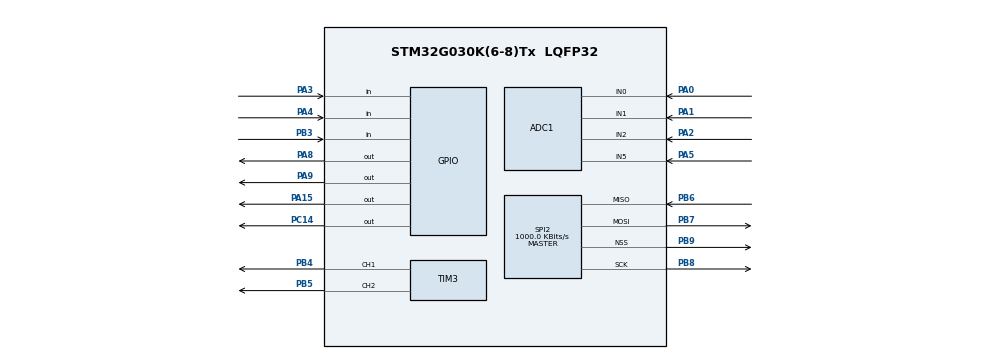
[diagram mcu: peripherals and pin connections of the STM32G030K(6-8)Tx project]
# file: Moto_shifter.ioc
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ADC1.Channel-0\#ChannelRegularConversion=ADC_CHANNEL_0
ADC1.Channel-1\#ChannelRegularConversion=ADC_CHANNEL_1
ADC1.Channel-2\#ChannelRegularConversion=ADC_CHANNEL_2
ADC1.Channel-3\#ChannelRegularConversion=ADC_CHANNEL_2
ADC1.Channel-4\#ChannelRegularConversion=ADC_CHANNEL_5
ADC1.Channel-5\#ChannelRegularConversion=ADC_CHANNEL_5
ADC1.DMAContinuousRequests=ENABLE
ADC1.DiscontinuousConvMode=ENABLE
ADC1.ExternalTrigConv=ADC_EXTERNALTRIG_T3_TRGO
ADC1.NbrOfConversion=6
ADC1.NbrOfConversionFlag=1
ADC1.Rank-0\#ChannelRegularConversion=1
ADC1.Rank-1\#ChannelRegularConversion=2
ADC1.Rank-2\#ChannelRegularConversion=3
ADC1.Rank-3\#ChannelRegularConversion=4
ADC1.Rank-4\#ChannelRegularConversion=5
ADC1.Rank-5\#ChannelRegularConversion=6
ADC1.SamplingTime-0\#ChannelRegularConversion=ADC_SAMPLINGTIME_COMMON_1
ADC1.SamplingTime-1\#ChannelRegularConversion=ADC_SAMPLINGTIME_COMMON_1
ADC1.SamplingTime-2\#ChannelRegularConversion=ADC_SAMPLINGTIME_COMMON_1
ADC1.SamplingTime-3\#ChannelRegularConversion=ADC_SAMPLINGTIME_COMMON_1
ADC1.SamplingTime-4\#ChannelRegularConversion=ADC_SAMPLINGTIME_COMMON_1
ADC1.SamplingTime-5\#ChannelRegularConversion=ADC_SAMPLINGTIME_COMMON_1
ADC1.SelectedChannel=ADC_CHANNEL_0|ADC_CHANNEL_1|ADC_CHANNEL_2|ADC_CHANNEL_5
ADC1.master=1
Dma.ADC1.0.Direction=DMA_PERIPH_TO_MEMORY
Dma.ADC1.0.EventEnable=DISABLE
Dma.ADC1.0.Instance=DMA1_Channel1
Dma.ADC1.0.MemDataAlignment=DMA_MDATAALIGN_HALFWORD
Dma.ADC1.0.MemInc=DMA_MINC_ENABLE
Dma.ADC1.0.Mode=DMA_CIRCULAR
Dma.ADC1.0.PeriphDataAlignment=DMA_PDATAALIGN_HALFWORD
Dma.ADC1.0.PeriphInc=DMA_PINC_DISABLE
Dma.ADC1.0.Polarity=HAL_DMAMUX_REQ_GEN_RISING
Dma.ADC1.0.Priority=DMA_PRIORITY_MEDIUM
Dma.ADC1.0.RequestNumber=1
Dma.ADC1.0.SignalID=NONE
Dma.ADC1.0.SyncEnable=DISABLE
Dma.ADC1.0.SyncPolarity=HAL_DMAMUX_SYNC_NO_EVENT
Dma.ADC1.0.SyncRequestNumber=1
Dma.ADC1.0.SyncSignalID=NONE
Dma.Request0=ADC1
Dma.Request1=SPI2_RX
Dma.Request2=SPI2_TX
Dma.SPI2_RX.1.Direction=DMA_PERIPH_TO_MEMORY
Dma.SPI2_RX.1.EventEnable=DISABLE
Dma.SPI2_RX.1.Instance=DMA1_Channel2
Dma.SPI2_RX.1.MemDataAlignment=DMA_MDATAALIGN_HALFWORD
Dma.SPI2_RX.1.MemInc=DMA_MINC_ENABLE
Dma.SPI2_RX.1.Mode=DMA_CIRCULAR
Dma.SPI2_RX.1.PeriphDataAlignment=DMA_PDATAALIGN_HALFWORD
Dma.SPI2_RX.1.PeriphInc=DMA_PINC_DISABLE
Dma.SPI2_RX.1.Polarity=HAL_DMAMUX_REQ_GEN_RISING
Dma.SPI2_RX.1.Priority=DMA_PRIORITY_LOW
Dma.SPI2_RX.1.RequestNumber=1
Dma.SPI2_RX.1.SignalID=NONE
Dma.SPI2_RX.1.SyncEnable=DISABLE
Dma.SPI2_RX.1.SyncPolarity=HAL_DMAMUX_SYNC_NO_EVENT
Dma.SPI2_RX.1.SyncRequestNumber=1
Dma.SPI2_RX.1.SyncSignalID=NONE
Dma.SPI2_TX.2.Direction=DMA_MEMORY_TO_PERIPH
Dma.SPI2_TX.2.EventEnable=DISABLE
Dma.SPI2_TX.2.Instance=DMA1_Channel3
Dma.SPI2_TX.2.MemDataAlignment=DMA_MDATAALIGN_HALFWORD
Dma.SPI2_TX.2.MemInc=DMA_MINC_ENABLE
Dma.SPI2_TX.2.Mode=DMA_NORMAL
Dma.SPI2_TX.2.PeriphDataAlignment=DMA_PDATAALIGN_HALFWORD
Dma.SPI2_TX.2.PeriphInc=DMA_PINC_DISABLE
Dma.SPI2_TX.2.Polarity=HAL_DMAMUX_REQ_GEN_RISING
Dma.SPI2_TX.2.Priority=DMA_PRIORITY_LOW
Dma.SPI2_TX.2.RequestNumber=1
Dma.SPI2_TX.2.SignalID=NONE
Dma.SPI2_TX.2.SyncEnable=DISABLE
Dma.SPI2_TX.2.SyncPolarity=HAL_DMAMUX_SYNC_NO_EVENT
Dma.SPI2_TX.2.SyncRequestNumber=1
Dma.SPI2_TX.2.SyncSignalID=NONE
Mcu.Family=STM32G0
Mcu.Name=STM32G030K(6-8)Tx
Mcu.Package=LQFP32
NVIC.DMA1_Channel1_IRQn=true\:0\:0\:false\:false\:true\:false\:true\:true
NVIC.DMA1_Channel2_3_IRQn=true\:0\:0\:false\:false\:true\:false\:true\:true
PA0.Mode=IN0
PA0.Signal=ADC1_IN0
PA1.Mode=IN1
PA1.Signal=ADC1_IN1
PA13.Mode=Serial_Wire
PA13.Signal=SYS_SWDIO
PA14-BOOT0.Mode=Serial_Wire
PA14-BOOT0.Signal=SYS_SWCLK
PA15.Signal=GPIO_Output
PA2.Mode=IN2
PA2.Signal=ADC1_IN2
PA3.Signal=GPIO_Input
PA4.Signal=GPIO_Input
PA5.Mode=IN5
PA5.Signal=ADC1_IN5
PA8.Signal=GPIO_Output
PA9.Signal=GPIO_Output
PB3.Signal=GPIO_Input
PB4.Signal=S_TIM3_CH1
PB5.Signal=S_TIM3_CH2
PB6.Mode=Full_Duplex_Master
PB6.Signal=SPI2_MISO
PB7.Mode=Full_Duplex_Master
PB7.Signal=SPI2_MOSI
PB8.Mode=Full_Duplex_Master
PB8.Signal=SPI2_SCK
PB9.Mode=NSS_Signal_Hard_Output
PB9.Signal=SPI2_NSS
PC14-OSC32_IN\ (PC14).Signal=GPIO_Output
ProjectManager.HeapSize=0x200
ProjectManager.StackSize=0x400
ProjectManager.TargetToolchain=MDK-ARM V5.32
RCC.ADCFreq_Value=2000000
RCC.AHBFreq_Value=2000000
RCC.CortexFreq_Value=2000000
RCC.EXTERNAL_CLOCK_VALUE=12288000
RCC.HCLKFreq_Value=2000000
RCC.HSE_VALUE=8000000
RCC.HSISYSCLKDivider=RCC_HSI_DIV8
RCC.HSI_VALUE=16000000
RCC.LSE_VALUE=32768
RCC.SYSCLKFreq_VALUE=2000000
RCC.VCOOutputFreq_Value=128000000
SH.S_TIM3_CH1.0=TIM3_CH1,PWM Generation1 CH1
SH.S_TIM3_CH2.0=TIM3_CH2,PWM Generation2 CH2
SPI2.BaudRatePrescaler=SPI_BAUDRATEPRESCALER_2
SPI2.CLKPhase=SPI_PHASE_1EDGE
SPI2.CLKPolarity=SPI_POLARITY_LOW
SPI2.CalculateBaudRate=1000.0 KBits/s
SPI2.DataSize=SPI_DATASIZE_16BIT
SPI2.Direction=SPI_DIRECTION_2LINES
SPI2.Mode=SPI_MODE_MASTER
SPI2.TIMode=SPI_TIMODE_DISABLE
SPI2.VirtualNSS=VM_NSSHARD
SPI2.VirtualType=VM_MASTER
TIM3.Channel-PWM\ Generation1\ CH1=TIM_CHANNEL_1
TIM3.Channel-PWM\ Generation2\ CH2=TIM_CHANNEL_2
TIM3.TIM_MasterOutputTrigger=TIM_TRGO_UPDATE
VP_TIM3_VS_ClockSourceINT.Mode=Internal
board=custom

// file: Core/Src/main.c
/* USER CODE BEGIN Header */
/**
  ******************************************************************************
  * @file           : main.c
  * @brief          : Main program body
  ******************************************************************************
  * @attention
  *
  * Copyright (c) 2024 STMicroelectronics.
  * All rights reserved.
  *
  * This software is licensed under terms that can be found in the LICENSE file
  * in the root directory of this software component.
  * If no LICENSE file comes with this software, it is provided AS-IS.
  *
  ******************************************************************************
  */
/* USER CODE END Header */
#include "main.h"

/* USER CODE BEGIN Includes */
#define DOFF_PIN 		GPIOC, LL_GPIO_PIN_14
#define nSLEEP_PIN 	GPIOA, LL_GPIO_PIN_15
#define EN_PIN 			GPIOB, LL_GPIO_PIN_4
#define PH_PIN 			GPIOB, LL_GPIO_PIN_5
#define nSS_PIN 		GPIOB, LL_GPIO_PIN_9

/* USER CODE END Includes */

SPI_HandleTypeDef hspi2;
DMA_HandleTypeDef hdma_spi2_rx;
DMA_HandleTypeDef hdma_spi2_tx;

void SystemClock_Config(void);
static void MX_GPIO_Init(void);
static void MX_DMA_Init(void);
static void MX_ADC1_Init(void);
static void MX_SPI2_Init(void);
static void MX_TIM3_Init(void);
/* USER CODE BEGIN PFP */

uint16_t SPI_RX_buf[16];
uint16_t SPI_TX_buf[16];
/* USER CODE END PFP */

int main(void)
{

  /* MCU Configuration--------------------------------------------------------*/

  /* Reset of all peripherals, Initializes the Flash interface and the Systick. */
  HAL_Init();

  /* Configure the system clock */
  SystemClock_Config();

  /* Initialize all configured peripherals */
  MX_GPIO_Init();
  MX_DMA_Init();
  MX_ADC1_Init();
  MX_SPI2_Init();
  MX_TIM3_Init();
  /* USER CODE BEGIN 2 */
	LL_GPIO_SetOutputPin(DOFF_PIN);

	LL_GPIO_SetOutputPin(nSLEEP_PIN);
	LL_GPIO_ResetOutputPin(EN_PIN);
	LL_GPIO_ResetOutputPin(PH_PIN);
//	LL_DMA_SetMemoryAddress(DMA1, LL_DMA_CHANNEL_2, (uint32_t)&SPI_RX_buf);
//	LL_DMA_SetDataLength(DMA1, LL_DMA_CHANNEL_2, 16);
//	LL_DMA_EnableChannel(DMA1, LL_DMA_CHANNEL_2);
	SPI_TX_buf[0] = 0x0890;
	SPI_TX_buf[1] = 0x0890;
	SPI_TX_buf[2] = 0x4100;
	SPI_TX_buf[3] = 0x4100;
	SPI_TX_buf[4] = 0x4100;

	HAL_SPI_TransmitReceive_DMA(&hspi2, (uint8_t*)&SPI_TX_buf,(uint8_t*)&SPI_RX_buf,5);
	/*
	LL_SPI_EnableDMAReq_RX(SPI2);
	LL_SPI_Enable(SPI2);
	SPI2_transmit16b(0x4880);
	SPI2_transmit16b(0x0800);
	*/
  /* USER CODE END 2 */

  /* Infinite loop */
  while (1)
  {

  }
}

void SystemClock_Config(void)
{
  /* HSI configuration and activation */
  LL_RCC_HSI_Enable();
  while(LL_RCC_HSI_IsReady() != 1)
  {
  }

  LL_RCC_SetHSIDiv(LL_RCC_HSI_DIV_8);
  /* Set AHB prescaler*/
  LL_RCC_SetAHBPrescaler(LL_RCC_SYSCLK_DIV_1);

  /* Sysclk activation on the HSI */
  LL_RCC_SetSysClkSource(LL_RCC_SYS_CLKSOURCE_HSI);
  while(LL_RCC_GetSysClkSource() != LL_RCC_SYS_CLKSOURCE_STATUS_HSI)
  {
  }

  /* Set APB1 prescaler*/
  LL_RCC_SetAPB1Prescaler(LL_RCC_APB1_DIV_1);
  /* Update CMSIS variable (which can be updated also through SystemCoreClockUpdate function) */
  LL_SetSystemCoreClock(2000000);

   /* Update the time base */
  if (HAL_InitTick (TICK_INT_PRIORITY) != HAL_OK)
  {
    Error_Handler();
  }
}

static void MX_ADC1_Init(void)
{

  LL_ADC_InitTypeDef ADC_InitStruct = {0};
  LL_ADC_REG_InitTypeDef ADC_REG_InitStruct = {0};

  LL_GPIO_InitTypeDef GPIO_InitStruct = {0};

  /* Peripheral clock enable */
  LL_APB2_GRP1_EnableClock(LL_APB2_GRP1_PERIPH_ADC);

  LL_IOP_GRP1_EnableClock(LL_IOP_GRP1_PERIPH_GPIOA);
  /**ADC1 GPIO Configuration
  PA0   ------> ADC1_IN0
  PA1   ------> ADC1_IN1
  PA2   ------> ADC1_IN2
  PA5   ------> ADC1_IN5
  */
  GPIO_InitStruct.Pin = LL_GPIO_PIN_0;
  GPIO_InitStruct.Mode = LL_GPIO_MODE_ANALOG;
  GPIO_InitStruct.Pull = LL_GPIO_PULL_NO;
  LL_GPIO_Init(GPIOA, &GPIO_InitStruct);

  GPIO_InitStruct.Pin = LL_GPIO_PIN_1;
  GPIO_InitStruct.Mode = LL_GPIO_MODE_ANALOG;
  GPIO_InitStruct.Pull = LL_GPIO_PULL_NO;
  LL_GPIO_Init(GPIOA, &GPIO_InitStruct);

  GPIO_InitStruct.Pin = LL_GPIO_PIN_2;
  GPIO_InitStruct.Mode = LL_GPIO_MODE_ANALOG;
  GPIO_InitStruct.Pull = LL_GPIO_PULL_NO;
  LL_GPIO_Init(GPIOA, &GPIO_InitStruct);

  GPIO_InitStruct.Pin = LL_GPIO_PIN_5;
  GPIO_InitStruct.Mode = LL_GPIO_MODE_ANALOG;
  GPIO_InitStruct.Pull = LL_GPIO_PULL_NO;
  LL_GPIO_Init(GPIOA, &GPIO_InitStruct);

  /* ADC1 DMA Init */

  /* ADC1 Init */
  LL_DMA_SetPeriphRequest(DMA1, LL_DMA_CHANNEL_1, LL_DMAMUX_REQ_ADC1);

  LL_DMA_SetDataTransferDirection(DMA1, LL_DMA_CHANNEL_1, LL_DMA_DIRECTION_PERIPH_TO_MEMORY);

  LL_DMA_SetChannelPriorityLevel(DMA1, LL_DMA_CHANNEL_1, LL_DMA_PRIORITY_MEDIUM);

  LL_DMA_SetMode(DMA1, LL_DMA_CHANNEL_1, LL_DMA_MODE_CIRCULAR);

  LL_DMA_SetPeriphIncMode(DMA1, LL_DMA_CHANNEL_1, LL_DMA_PERIPH_NOINCREMENT);

  LL_DMA_SetMemoryIncMode(DMA1, LL_DMA_CHANNEL_1, LL_DMA_MEMORY_INCREMENT);

  LL_DMA_SetPeriphSize(DMA1, LL_DMA_CHANNEL_1, LL_DMA_PDATAALIGN_HALFWORD);

  LL_DMA_SetMemorySize(DMA1, LL_DMA_CHANNEL_1, LL_DMA_MDATAALIGN_HALFWORD);

  /** Configure the global features of the ADC (Clock, Resolution, Data Alignment and number of conversion)
  */

   #define ADC_CHANNEL_CONF_RDY_TIMEOUT_MS ( 1U)
   #if (USE_TIMEOUT == 1)
   uint32_t Timeout ; /* Variable used for Timeout management */
   #endif /* USE_TIMEOUT */

  ADC_InitStruct.Clock = LL_ADC_CLOCK_SYNC_PCLK_DIV1;
  ADC_InitStruct.Resolution = LL_ADC_RESOLUTION_12B;
  ADC_InitStruct.DataAlignment = LL_ADC_DATA_ALIGN_RIGHT;
  ADC_InitStruct.LowPowerMode = LL_ADC_LP_MODE_NONE;
  LL_ADC_Init(ADC1, &ADC_InitStruct);
  LL_ADC_REG_SetSequencerConfigurable(ADC1, LL_ADC_REG_SEQ_CONFIGURABLE);

   /* Poll for ADC channel configuration ready */
   #if (USE_TIMEOUT == 1)
   Timeout = ADC_CHANNEL_CONF_RDY_TIMEOUT_MS;
   #endif /* USE_TIMEOUT */
   while (LL_ADC_IsActiveFlag_CCRDY(ADC1) == 0)
     {
   #if (USE_TIMEOUT == 1)
   /* Check Systick counter flag to decrement the time-out value */
   if (LL_SYSTICK_IsActiveCounterFlag())
     {
   if(Timeout-- == 0)
         {
   Error_Handler();
         }
     }
   #endif /* USE_TIMEOUT */
     }
   /* Clear flag ADC channel configuration ready */
   LL_ADC_ClearFlag_CCRDY(ADC1);
  ADC_REG_InitStruct.TriggerSource = LL_ADC_REG_TRIG_EXT_TIM3_TRGO;
  ADC_REG_InitStruct.SequencerLength = LL_ADC_REG_SEQ_SCAN_ENABLE_6RANKS;
  ADC_REG_InitStruct.SequencerDiscont = LL_ADC_REG_SEQ_DISCONT_1RANK;
  ADC_REG_InitStruct.ContinuousMode = LL_ADC_REG_CONV_SINGLE;
  ADC_REG_InitStruct.DMATransfer = LL_ADC_REG_DMA_TRANSFER_UNLIMITED;
  ADC_REG_InitStruct.Overrun = LL_ADC_REG_OVR_DATA_PRESERVED;
  LL_ADC_REG_Init(ADC1, &ADC_REG_InitStruct);
  LL_ADC_SetOverSamplingScope(ADC1, LL_ADC_OVS_DISABLE);
  LL_ADC_SetTriggerFrequencyMode(ADC1, LL_ADC_CLOCK_FREQ_MODE_HIGH);
  LL_ADC_REG_SetTriggerEdge(ADC1, LL_ADC_REG_TRIG_EXT_RISING);
  LL_ADC_SetSamplingTimeCommonChannels(ADC1, LL_ADC_SAMPLINGTIME_COMMON_1, LL_ADC_SAMPLINGTIME_1CYCLE_5);
  LL_ADC_SetSamplingTimeCommonChannels(ADC1, LL_ADC_SAMPLINGTIME_COMMON_2, LL_ADC_SAMPLINGTIME_1CYCLE_5);
  LL_ADC_DisableIT_EOC(ADC1);
  LL_ADC_DisableIT_EOS(ADC1);

   /* Enable ADC internal voltage regulator */
   LL_ADC_EnableInternalRegulator(ADC1);
   /* Delay for ADC internal voltage regulator stabilization. */
   /* Compute number of CPU cycles to wait for, from delay in us. */
   /* Note: Variable divided by 2 to compensate partially */
   /* CPU processing cycles (depends on compilation optimization). */
   /* Note: If system core clock frequency is below 200kHz, wait time */
   /* is only a few CPU processing cycles. */
   uint32_t wait_loop_index;
   wait_loop_index = ((LL_ADC_DELAY_INTERNAL_REGUL_STAB_US * (SystemCoreClock / (100000 * 2))) / 10);
   while(wait_loop_index != 0)
     {
   wait_loop_index--;
     }

  /** Configure Regular Channel
  */
  LL_ADC_REG_SetSequencerRanks(ADC1, LL_ADC_REG_RANK_1, LL_ADC_CHANNEL_0);
  LL_ADC_SetChannelSamplingTime(ADC1, LL_ADC_CHANNEL_0, LL_ADC_SAMPLINGTIME_COMMON_1);

  /** Configure Regular Channel
  */
  LL_ADC_REG_SetSequencerRanks(ADC1, LL_ADC_REG_RANK_2, LL_ADC_CHANNEL_1);

   /* Poll for ADC channel configuration ready */
   #if (USE_TIMEOUT == 1)
   Timeout = ADC_CHANNEL_CONF_RDY_TIMEOUT_MS;
   #endif /* USE_TIMEOUT */
   while (LL_ADC_IsActiveFlag_CCRDY(ADC1) == 0)
     {
   #if (USE_TIMEOUT == 1)
   /* Check Systick counter flag to decrement the time-out value */
   if (LL_SYSTICK_IsActiveCounterFlag())
     {
   if(Timeout-- == 0)
         {
   Error_Handler();
         }
     }
   #endif /* USE_TIMEOUT */
     }
   /* Clear flag ADC channel configuration ready */
   LL_ADC_ClearFlag_CCRDY(ADC1);
  LL_ADC_SetChannelSamplingTime(ADC1, LL_ADC_CHANNEL_1, LL_ADC_SAMPLINGTIME_COMMON_1);

  /** Configure Regular Channel
  */
  LL_ADC_REG_SetSequencerRanks(ADC1, LL_ADC_REG_RANK_3, LL_ADC_CHANNEL_2);

   /* Poll for ADC channel configuration ready */
   #if (USE_TIMEOUT == 1)
   Timeout = ADC_CHANNEL_CONF_RDY_TIMEOUT_MS;
   #endif /* USE_TIMEOUT */
   while (LL_ADC_IsActiveFlag_CCRDY(ADC1) == 0)
     {
   #if (USE_TIMEOUT == 1)
   /* Check Systick counter flag to decrement the time-out value */
   if (LL_SYSTICK_IsActiveCounterFlag())
     {
   if(Timeout-- == 0)
         {
   Error_Handler();
         }
     }
   #endif /* USE_TIMEOUT */
     }
   /* Clear flag ADC channel configuration ready */
   LL_ADC_ClearFlag_CCRDY(ADC1);
  LL_ADC_SetChannelSamplingTime(ADC1, LL_ADC_CHANNEL_2, LL_ADC_SAMPLINGTIME_COMMON_1);

  /** Configure Regular Channel
  */
  LL_ADC_REG_SetSequencerRanks(ADC1, LL_ADC_REG_RANK_4, LL_ADC_CHANNEL_2);

   /* Poll for ADC channel configuration ready */
   #if (USE_TIMEOUT == 1)
   Timeout = ADC_CHANNEL_CONF_RDY_TIMEOUT_MS;
   #endif /* USE_TIMEOUT */
   while (LL_ADC_IsActiveFlag_CCRDY(ADC1) == 0)
     {
   #if (USE_TIMEOUT == 1)
   /* Check Systick counter flag to decrement the time-out value */
   if (LL_SYSTICK_IsActiveCounterFlag())
     {
   if(Timeout-- == 0)
         {
   Error_Handler();
         }
     }
   #endif /* USE_TIMEOUT */
     }
   /* Clear flag ADC channel configuration ready */
   LL_ADC_ClearFlag_CCRDY(ADC1);
  LL_ADC_SetChannelSamplingTime(ADC1, LL_ADC_CHANNEL_2, LL_ADC_SAMPLINGTIME_COMMON_1);

  /** Configure Regular Channel
  */
  LL_ADC_REG_SetSequencerRanks(ADC1, LL_ADC_REG_RANK_5, LL_ADC_CHANNEL_5);

   /* Poll for ADC channel configuration ready */
   #if (USE_TIMEOUT == 1)
   Timeout = ADC_CHANNEL_CONF_RDY_TIMEOUT_MS;
   #endif /* USE_TIMEOUT */
   while (LL_ADC_IsActiveFlag_CCRDY(ADC1) == 0)
     {
   #if (USE_TIMEOUT == 1)
   /* Check Systick counter flag to decrement the time-out value */
   if (LL_SYSTICK_IsActiveCounterFlag())
     {
   if(Timeout-- == 0)
         {
   Error_Handler();
         }
     }
   #endif /* USE_TIMEOUT */
     }
   /* Clear flag ADC channel configuration ready */
   LL_ADC_ClearFlag_CCRDY(ADC1);
  LL_ADC_SetChannelSamplingTime(ADC1, LL_ADC_CHANNEL_5, LL_ADC_SAMPLINGTIME_COMMON_1);

  /** Configure Regular Channel
  */
  LL_ADC_REG_SetSequencerRanks(ADC1, LL_ADC_REG_RANK_6, LL_ADC_CHANNEL_5);

   /* Poll for ADC channel configuration ready */
   #if (USE_TIMEOUT == 1)
   Timeout = ADC_CHANNEL_CONF_RDY_TIMEOUT_MS;
   #endif /* USE_TIMEOUT */
   while (LL_ADC_IsActiveFlag_CCRDY(ADC1) == 0)
     {
   #if (USE_TIMEOUT == 1)
   /* Check Systick counter flag to decrement the time-out value */
   if (LL_SYSTICK_IsActiveCounterFlag())
     {
   if(Timeout-- == 0)
         {
   Error_Handler();
         }
     }
   #endif /* USE_TIMEOUT */
     }
   /* Clear flag ADC channel configuration ready */
   LL_ADC_ClearFlag_CCRDY(ADC1);
  LL_ADC_SetChannelSamplingTime(ADC1, LL_ADC_CHANNEL_5, LL_ADC_SAMPLINGTIME_COMMON_1);

}

static void MX_SPI2_Init(void)
{

  /* SPI2 parameter configuration*/
  hspi2.Instance = SPI2;
  hspi2.Init.Mode = SPI_MODE_MASTER;
  hspi2.Init.Direction = SPI_DIRECTION_2LINES;
  hspi2.Init.DataSize = SPI_DATASIZE_16BIT;
  hspi2.Init.CLKPolarity = SPI_POLARITY_LOW;
  hspi2.Init.CLKPhase = SPI_PHASE_1EDGE;
  hspi2.Init.NSS = SPI_NSS_HARD_OUTPUT;
  hspi2.Init.BaudRatePrescaler = SPI_BAUDRATEPRESCALER_2;
  hspi2.Init.FirstBit = SPI_FIRSTBIT_MSB;
  hspi2.Init.TIMode = SPI_TIMODE_DISABLE;
  hspi2.Init.CRCCalculation = SPI_CRCCALCULATION_DISABLE;
  hspi2.Init.CRCPolynomial = 7;
  hspi2.Init.CRCLength = SPI_CRC_LENGTH_DATASIZE;
  hspi2.Init.NSSPMode = SPI_NSS_PULSE_ENABLE;
  if (HAL_SPI_Init(&hspi2) != HAL_OK)
  {
    Error_Handler();
  }

}

static void MX_TIM3_Init(void)
{

  LL_TIM_InitTypeDef TIM_InitStruct = {0};
  LL_TIM_OC_InitTypeDef TIM_OC_InitStruct = {0};

  LL_GPIO_InitTypeDef GPIO_InitStruct = {0};

  /* Peripheral clock enable */
  LL_APB1_GRP1_EnableClock(LL_APB1_GRP1_PERIPH_TIM3);

  TIM_InitStruct.Prescaler = 0;
  TIM_InitStruct.CounterMode = LL_TIM_COUNTERMODE_UP;
  TIM_InitStruct.Autoreload = 65535;
  TIM_InitStruct.ClockDivision = LL_TIM_CLOCKDIVISION_DIV1;
  LL_TIM_Init(TIM3, &TIM_InitStruct);
  LL_TIM_DisableARRPreload(TIM3);
  LL_TIM_SetClockSource(TIM3, LL_TIM_CLOCKSOURCE_INTERNAL);
  LL_TIM_OC_EnablePreload(TIM3, LL_TIM_CHANNEL_CH1);
  TIM_OC_InitStruct.OCMode = LL_TIM_OCMODE_PWM1;
  TIM_OC_InitStruct.OCState = LL_TIM_OCSTATE_DISABLE;
  TIM_OC_InitStruct.OCNState = LL_TIM_OCSTATE_DISABLE;
  TIM_OC_InitStruct.CompareValue = 0;
  TIM_OC_InitStruct.OCPolarity = LL_TIM_OCPOLARITY_HIGH;
  LL_TIM_OC_Init(TIM3, LL_TIM_CHANNEL_CH1, &TIM_OC_InitStruct);
  LL_TIM_OC_DisableFast(TIM3, LL_TIM_CHANNEL_CH1);
  LL_TIM_OC_EnablePreload(TIM3, LL_TIM_CHANNEL_CH2);
  LL_TIM_OC_Init(TIM3, LL_TIM_CHANNEL_CH2, &TIM_OC_InitStruct);
  LL_TIM_OC_DisableFast(TIM3, LL_TIM_CHANNEL_CH2);
  LL_TIM_SetTriggerOutput(TIM3, LL_TIM_TRGO_UPDATE);
  LL_TIM_DisableMasterSlaveMode(TIM3);
  LL_IOP_GRP1_EnableClock(LL_IOP_GRP1_PERIPH_GPIOB);
  /**TIM3 GPIO Configuration
  PB4   ------> TIM3_CH1
  PB5   ------> TIM3_CH2
  */
  GPIO_InitStruct.Pin = LL_GPIO_PIN_4;
  GPIO_InitStruct.Mode = LL_GPIO_MODE_ALTERNATE;
  GPIO_InitStruct.Speed = LL_GPIO_SPEED_FREQ_LOW;
  GPIO_InitStruct.OutputType = LL_GPIO_OUTPUT_PUSHPULL;
  GPIO_InitStruct.Pull = LL_GPIO_PULL_NO;
  GPIO_InitStruct.Alternate = LL_GPIO_AF_1;
  LL_GPIO_Init(GPIOB, &GPIO_InitStruct);

  GPIO_InitStruct.Pin = LL_GPIO_PIN_5;
  GPIO_InitStruct.Mode = LL_GPIO_MODE_ALTERNATE;
  GPIO_InitStruct.Speed = LL_GPIO_SPEED_FREQ_LOW;
  GPIO_InitStruct.OutputType = LL_GPIO_OUTPUT_PUSHPULL;
  GPIO_InitStruct.Pull = LL_GPIO_PULL_NO;
  GPIO_InitStruct.Alternate = LL_GPIO_AF_1;
  LL_GPIO_Init(GPIOB, &GPIO_InitStruct);

}

static void MX_DMA_Init(void)
{

  /* Init with LL driver */
  /* DMA controller clock enable */
  LL_AHB1_GRP1_EnableClock(LL_AHB1_GRP1_PERIPH_DMA1);

  /* DMA interrupt init */
  /* DMA1_Channel1_IRQn interrupt configuration */
  NVIC_SetPriority(DMA1_Channel1_IRQn, 0);
  NVIC_EnableIRQ(DMA1_Channel1_IRQn);
  /* DMA1_Channel2_3_IRQn interrupt configuration */
  HAL_NVIC_SetPriority(DMA1_Channel2_3_IRQn, 0, 0);
  HAL_NVIC_EnableIRQ(DMA1_Channel2_3_IRQn);

}

static void MX_GPIO_Init(void)
{
  LL_GPIO_InitTypeDef GPIO_InitStruct = {0};

  /* GPIO Ports Clock Enable */
  LL_IOP_GRP1_EnableClock(LL_IOP_GRP1_PERIPH_GPIOB);
  LL_IOP_GRP1_EnableClock(LL_IOP_GRP1_PERIPH_GPIOC);
  LL_IOP_GRP1_EnableClock(LL_IOP_GRP1_PERIPH_GPIOA);

  /**/
  LL_GPIO_ResetOutputPin(GPIOC, LL_GPIO_PIN_14);

  /**/
  LL_GPIO_ResetOutputPin(GPIOA, LL_GPIO_PIN_8);

  /**/
  LL_GPIO_ResetOutputPin(GPIOA, LL_GPIO_PIN_9);

  /**/
  LL_GPIO_ResetOutputPin(GPIOA, LL_GPIO_PIN_15);

  /**/
  GPIO_InitStruct.Pin = LL_GPIO_PIN_14;
  GPIO_InitStruct.Mode = LL_GPIO_MODE_OUTPUT;
  GPIO_InitStruct.Speed = LL_GPIO_SPEED_FREQ_LOW;
  GPIO_InitStruct.OutputType = LL_GPIO_OUTPUT_PUSHPULL;
  GPIO_InitStruct.Pull = LL_GPIO_PULL_NO;
  LL_GPIO_Init(GPIOC, &GPIO_InitStruct);

  /**/
  GPIO_InitStruct.Pin = LL_GPIO_PIN_3;
  GPIO_InitStruct.Mode = LL_GPIO_MODE_INPUT;
  GPIO_InitStruct.Pull = LL_GPIO_PULL_NO;
  LL_GPIO_Init(GPIOA, &GPIO_InitStruct);

  /**/
  GPIO_InitStruct.Pin = LL_GPIO_PIN_4;
  GPIO_InitStruct.Mode = LL_GPIO_MODE_INPUT;
  GPIO_InitStruct.Pull = LL_GPIO_PULL_NO;
  LL_GPIO_Init(GPIOA, &GPIO_InitStruct);

  /**/
  GPIO_InitStruct.Pin = LL_GPIO_PIN_8;
  GPIO_InitStruct.Mode = LL_GPIO_MODE_OUTPUT;
  GPIO_InitStruct.Speed = LL_GPIO_SPEED_FREQ_LOW;
  GPIO_InitStruct.OutputType = LL_GPIO_OUTPUT_PUSHPULL;
  GPIO_InitStruct.Pull = LL_GPIO_PULL_NO;
  LL_GPIO_Init(GPIOA, &GPIO_InitStruct);

  /**/
  GPIO_InitStruct.Pin = LL_GPIO_PIN_9;
  GPIO_InitStruct.Mode = LL_GPIO_MODE_OUTPUT;
  GPIO_InitStruct.Speed = LL_GPIO_SPEED_FREQ_LOW;
  GPIO_InitStruct.OutputType = LL_GPIO_OUTPUT_PUSHPULL;
  GPIO_InitStruct.Pull = LL_GPIO_PULL_NO;
  LL_GPIO_Init(GPIOA, &GPIO_InitStruct);

  /**/
  GPIO_InitStruct.Pin = LL_GPIO_PIN_15;
  GPIO_InitStruct.Mode = LL_GPIO_MODE_OUTPUT;
  GPIO_InitStruct.Speed = LL_GPIO_SPEED_FREQ_LOW;
  GPIO_InitStruct.OutputType = LL_GPIO_OUTPUT_PUSHPULL;
  GPIO_InitStruct.Pull = LL_GPIO_PULL_NO;
  LL_GPIO_Init(GPIOA, &GPIO_InitStruct);

  /**/
  GPIO_InitStruct.Pin = LL_GPIO_PIN_3;
  GPIO_InitStruct.Mode = LL_GPIO_MODE_INPUT;
  GPIO_InitStruct.Pull = LL_GPIO_PULL_NO;
  LL_GPIO_Init(GPIOB, &GPIO_InitStruct);

}

void Error_Handler(void)
{
  __disable_irq();
  while (1)
  {
  }
}
